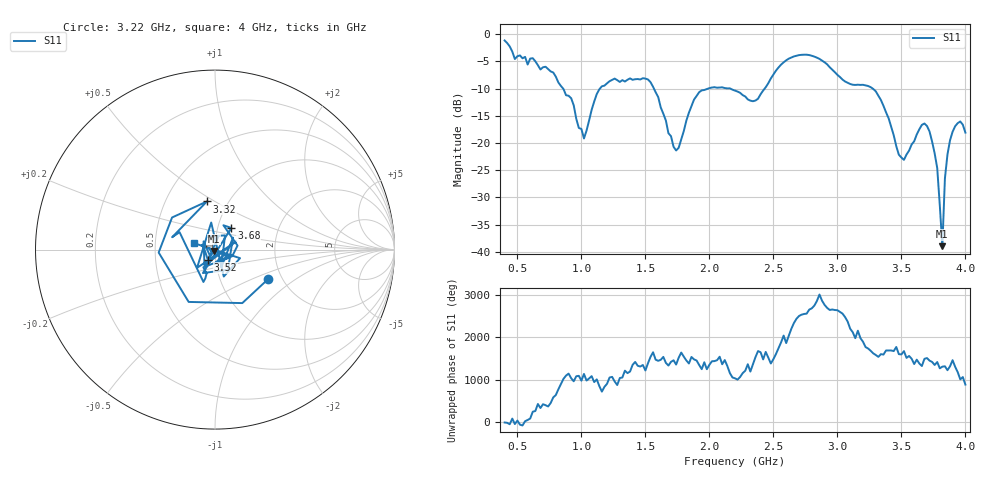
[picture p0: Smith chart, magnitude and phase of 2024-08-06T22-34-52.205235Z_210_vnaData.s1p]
!Created with skrf (http://scikit-rf.org).
# Hz S RI R 50.0
!freq ReS11 ImS11
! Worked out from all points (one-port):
!   181 points, 400 MHz to 4 GHz, reference 50 ohm
!   lowest |S11| = -39.0 dB at 3.82 GHz (marker M1), VSWR 1.02, Z = 49.2 - j0.821 ohm
!   |S11| at or under -10 dB: 857.7 MHz to 1.144 GHz (286.6 MHz wide, 28.6 % of centre); 1.567 GHz to 1.989 GHz (421.8 MHz wide, 23.7 % of centre); 3.277 GHz to end of sweep (the widest 3 of 4)
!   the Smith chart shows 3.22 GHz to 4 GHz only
!   S11 on the Smith chart (normalised r, x): 3.22 GHz: 1.70, -0.63; 3.32 GHz: 0.80, +0.46; 3.52 GHz: 0.92, -0.11; 3.68 GHz: 1.16, +0.29; 4 GHz: 0.79, +0.06
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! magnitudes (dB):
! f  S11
! 400 MHz  -1.1
! 480 MHz  -4.6
! 620 MHz  -4.4
! 860 MHz  -10.1
! 1.02 GHz  -19.2
! 1.14 GHz  -10.1
! 1.3 GHz  -8.8
! 1.54 GHz  -8.8
! 1.72 GHz  -20.7
! 1.76 GHz  -20.9
! 1.92 GHz  -10.6
! 2.2 GHz  -10.4
! 2.36 GHz  -12.2
! 2.66 GHz  -4.1
! 2.86 GHz  -4.5
! 3.1 GHz  -9.1
! 3.22 GHz  -9.4
! 3.32 GHz  -11.3
! 3.52 GHz  -23.1
! 3.56 GHz  -21.4
! 3.68 GHz  -16.4
! 3.72 GHz  -17.9
! 3.78 GHz  -24.6
! 3.82 GHz  -39.0
! 3.84 GHz  -26.5
! 3.88 GHz  -19.5
! 3.96 GHz  -16.0
! 4 GHz  -18.1
